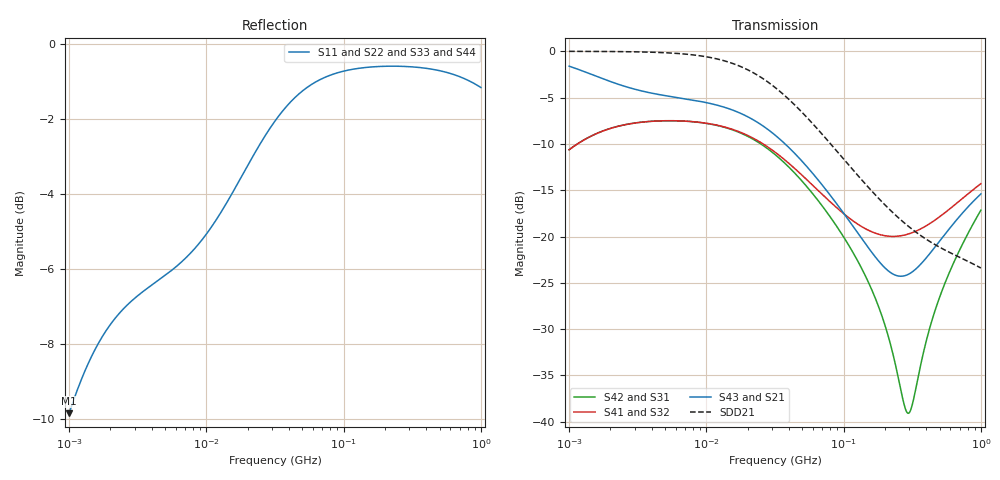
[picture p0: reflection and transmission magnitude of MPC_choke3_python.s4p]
! choke3, generic MPC with fitted values, reference from port_y
# Hz S RI R 50
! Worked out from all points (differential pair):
!   601 points, 1 MHz to 1 GHz, reference 50 ohm
!   strongest paths, dB at 1 MHz, 5.623 MHz, 31.62 MHz, 177.8 MHz, 1 GHz:
!     S43: -1.6, -4.9, -9.0, -22.6, -15.4
!     S21: -1.6, -4.9, -9.0, -22.6, -15.4
!     S41: -10.6, -7.5, -10.9, -19.7, -14.3
!     S32: -10.6, -7.5, -10.9, -19.7, -14.3
!     S42: -10.6, -7.5, -11.1, -27.4, -17.2
!     S31: -10.6, -7.5, -11.1, -27.4, -17.2
!   taken as a pair (ports 3,1 in; 4,2 out), SDD21 dB: 0.0, -0.2, -3.9, -15.8, -23.4
!   lowest |S11| = -9.9 dB at 1 MHz (marker M1), VSWR 1.95, Z = 64.9 + j35.7 ohm
!   |S11| at or under -10 dB: nowhere
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1000000  0.2065 0.2466  0.7935 -0.2471  0.2052 0.2111  -0.2052 -0.2108
         0.7935 -0.2471  0.2065 0.2466  -0.2052 -0.2108  0.2052 0.2111
         0.2052 0.2111  -0.2052 -0.2108  0.2065 0.2466  0.7935 -0.2471
         -0.2052 -0.2108  0.2052 0.2111  0.7935 -0.2471  0.2065 0.2466
5432503  0.4614 0.1854  0.5386 -0.1882  0.4219 0.000657  -0.4219 0.00129
         0.5386 -0.1882  0.4614 0.1854  -0.4219 0.00129  0.4219 0.000657
         0.4219 0.000657  -0.4219 0.00129  0.4614 0.1854  0.5386 -0.1882
         -0.4219 0.00129  0.4219 0.000657  0.5386 -0.1882  0.4614 0.1854
2.951209e7  0.737 0.2419  0.2628 -0.2575  0.2052 -0.2034  -0.205 0.214
            0.2628 -0.2575  0.737 0.2419  -0.205 0.214  0.2052 -0.2034
            0.2052 -0.2034  -0.205 0.214  0.737 0.2419  0.2628 -0.2575
            -0.205 0.214  0.2052 -0.2034  0.2628 -0.2575  0.737 0.2419
1.318257e8  0.9294 0.0053  0.0671 -0.0747  0.0241 -0.0655  -0.0209 0.1126
            0.0671 -0.0747  0.9294 0.0053  -0.0209 0.1126  0.0241 -0.0655
            0.0241 -0.0655  -0.0209 0.1126  0.9294 0.0053  0.0671 -0.0747
            -0.0209 0.1126  0.0241 -0.0655  0.0671 -0.0747  0.9294 0.0053
2.951209e8  0.9203 -0.1581  0.0623 0.00449  0.0111 0.000586  0.00509 0.103
            0.0623 0.00449  0.9203 -0.1581  0.00509 0.103  0.0111 0.000586
            0.0111 0.000586  0.00509 0.103  0.9203 -0.1581  0.0623 0.00449
            0.00509 0.103  0.0111 0.000586  0.0623 0.00449  0.9203 -0.1581
5.011872e8  0.8706 -0.3037  0.0805 0.0496  0.0116 0.0457  0.0336 0.1235
            0.0805 0.0496  0.8706 -0.3037  0.0336 0.1235  0.0116 0.0457
            0.0116 0.0457  0.0336 0.1235  0.8706 -0.3037  0.0805 0.0496
            0.0336 0.1235  0.0116 0.0457  0.0805 0.0496  0.8706 -0.3037
1e9  0.6852 -0.5454  0.1436 0.0907  0.0395 0.133  0.1175 0.1531
     0.1436 0.0907  0.6852 -0.5454  0.1175 0.1531  0.0395 0.133
     0.0395 0.133  0.1175 0.1531  0.6852 -0.5454  0.1436 0.0907
     0.1175 0.1531  0.0395 0.133  0.1436 0.0907  0.6852 -0.5454
